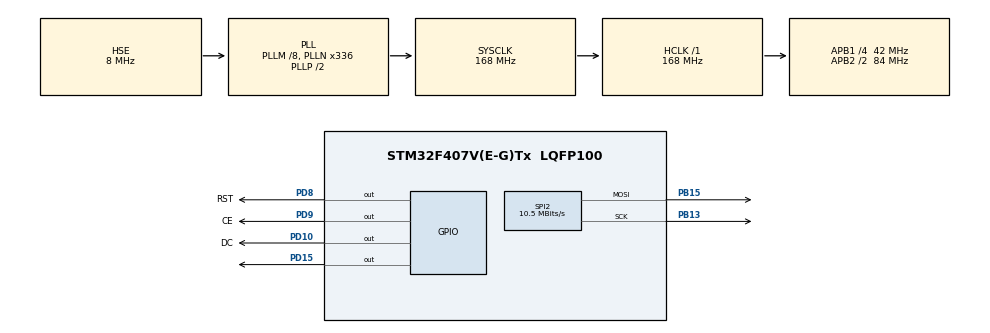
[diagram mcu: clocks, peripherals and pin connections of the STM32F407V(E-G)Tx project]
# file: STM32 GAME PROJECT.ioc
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Dma.Request0=SPI2_TX
Dma.SPI2_TX.0.Direction=DMA_MEMORY_TO_PERIPH
Dma.SPI2_TX.0.FIFOMode=DMA_FIFOMODE_DISABLE
Dma.SPI2_TX.0.Instance=DMA1_Stream4
Dma.SPI2_TX.0.MemDataAlignment=DMA_MDATAALIGN_BYTE
Dma.SPI2_TX.0.MemInc=DMA_MINC_ENABLE
Dma.SPI2_TX.0.Mode=DMA_NORMAL
Dma.SPI2_TX.0.PeriphDataAlignment=DMA_PDATAALIGN_BYTE
Dma.SPI2_TX.0.PeriphInc=DMA_PINC_DISABLE
Dma.SPI2_TX.0.Priority=DMA_PRIORITY_LOW
Mcu.Family=STM32F4
Mcu.Name=STM32F407V(E-G)Tx
Mcu.Package=LQFP100
NVIC.DMA1_Stream4_IRQn=true\:0\:0\:false\:false\:true\:false\:true\:true
NVIC.PriorityGroup=NVIC_PRIORITYGROUP_0
NVIC.SPI2_IRQn=true\:0\:0\:false\:false\:true\:true\:true\:true
PB13.Mode=TX_Only_Simplex_Unidirect_Master
PB13.Signal=SPI2_SCK
PB15.Mode=TX_Only_Simplex_Unidirect_Master
PB15.Signal=SPI2_MOSI
PC14-OSC32_IN.Mode=LSE-External-Oscillator
PC14-OSC32_IN.Signal=RCC_OSC32_IN
PC15-OSC32_OUT.Mode=LSE-External-Oscillator
PC15-OSC32_OUT.Signal=RCC_OSC32_OUT
PD10.GPIO_Label=DC
PD10.Signal=GPIO_Output
PD15.Signal=GPIO_Output
PD8.GPIO_Label=RST
PD8.Signal=GPIO_Output
PD9.GPIO_Label=CE
PD9.Signal=GPIO_Output
PH0-OSC_IN.Mode=HSE-External-Oscillator
PH0-OSC_IN.Signal=RCC_OSC_IN
PH1-OSC_OUT.Mode=HSE-External-Oscillator
PH1-OSC_OUT.Signal=RCC_OSC_OUT
ProjectManager.HeapSize=0x200
ProjectManager.StackSize=0x400
ProjectManager.TargetToolchain=STM32CubeIDE
RCC.48MHZClocksFreq_Value=48000000
RCC.AHBFreq_Value=168000000
RCC.APB1CLKDivider=RCC_HCLK_DIV4
RCC.APB1Freq_Value=42000000
RCC.APB1TimFreq_Value=84000000
RCC.APB2CLKDivider=RCC_HCLK_DIV2
RCC.APB2Freq_Value=84000000
RCC.APB2TimFreq_Value=168000000
RCC.CortexFreq_Value=168000000
RCC.HCLKFreq_Value=168000000
RCC.HSE_VALUE=8000000
RCC.HSI_VALUE=16000000
RCC.PLLM=8
RCC.PLLN=336
RCC.PLLQ=7
RCC.PLLSourceVirtual=RCC_PLLSOURCE_HSE
RCC.SYSCLKFreq_VALUE=168000000
RCC.SYSCLKSource=RCC_SYSCLKSOURCE_PLLCLK
RCC.VCOOutputFreq_Value=336000000
SPI2.BaudRatePrescaler=SPI_BAUDRATEPRESCALER_4
SPI2.CalculateBaudRate=10.5 MBits/s
SPI2.Direction=SPI_DIRECTION_2LINES
SPI2.Mode=SPI_MODE_MASTER
SPI2.VirtualType=VM_MASTER
board=STM32F4DISCOVERY

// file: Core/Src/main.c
/**
 ******************************************************************************
 * @file           : main.c
 * @brief          : Main program body
 ******************************************************************************
 ** This notice applies to any and all portions of this file
 * that are not between comment pairs USER CODE BEGIN and
 * USER CODE END. Other portions of this file, whether
 * inserted by the user or by software development tools
 * are owned by their respective copyright owners.
 *
 * COPYRIGHT(c) 2019 STMicroelectronics
 *
 * Redistribution and use in source and binary forms, with or without modification,
 * are permitted provided that the following conditions are met:
 *   1. Redistributions of source code must retain the above copyright notice,
 *      this list of conditions and the following disclaimer.
 *   2. Redistributions in binary form must reproduce the above copyright notice,
 *      this list of conditions and the following disclaimer in the documentation
 *      and/or other materials provided with the distribution.
 *   3. Neither the name of STMicroelectronics nor the names of its contributors
 *      may be used to endorse or promote products derived from this software
 *      without specific prior written permission.
 *
 * THIS SOFTWARE IS PROVIDED BY THE COPYRIGHT HOLDERS AND CONTRIBUTORS "AS IS"
 * AND ANY EXPRESS OR IMPLIED WARRANTIES, INCLUDING, BUT NOT LIMITED TO, THE
 * IMPLIED WARRANTIES OF MERCHANTABILITY AND FITNESS FOR A PARTICULAR PURPOSE ARE
 * DISCLAIMED. IN NO EVENT SHALL THE COPYRIGHT HOLDER OR CONTRIBUTORS BE LIABLE
 * FOR ANY DIRECT, INDIRECT, INCIDENTAL, SPECIAL, EXEMPLARY, OR CONSEQUENTIAL
 * DAMAGES (INCLUDING, BUT NOT LIMITED TO, PROCUREMENT OF SUBSTITUTE GOODS OR
 * SERVICES; LOSS OF USE, DATA, OR PROFITS; OR BUSINESS INTERRUPTION) HOWEVER
 * CAUSED AND ON ANY THEORY OF LIABILITY, WHETHER IN CONTRACT, STRICT LIABILITY,
 * OR TORT (INCLUDING NEGLIGENCE OR OTHERWISE) ARISING IN ANY WAY OUT OF THE USE
 * OF THIS SOFTWARE, EVEN IF ADVISED OF THE POSSIBILITY OF SUCH DAMAGE.
 *
 ******************************************************************************
 */
#include "main.h"
#include "stm32f4xx_hal.h"

/* USER CODE BEGIN Includes */
#include "NOKIA5110.h"
#include "FONT_IMAGE.h"

/* USER CODE END Includes */

SPI_HandleTypeDef hspi2;
DMA_HandleTypeDef hdma_spi2_tx;

/* USER CODE BEGIN PV */
/* Private variables ---------------------------------------------------------*/
#define DELAY   2000
/* USER CODE END PV */

void SystemClock_Config(void);
static void MX_GPIO_Init(void);
static void MX_DMA_Init(void);
static void MX_SPI2_Init(void);

/* USER CODE BEGIN PFP */
/* Private function prototypes -----------------------------------------------*/

/* USER CODE END PFP */

int main(void) {

	/* MCU Configuration----------------------------------------------------------*/

	/* Reset of all peripherals, Initializes the Flash interface and the Systick. */
	HAL_Init();

	/* Configure the system clock */
	SystemClock_Config();

	/* Initialize all configured peripherals */
	MX_GPIO_Init();
	MX_DMA_Init();
	MX_SPI2_Init();
	/* USER CODE BEGIN 2 */
	N5110_Init();

	/* USER CODE END 2 */

	/* Infinite loop */
	while (1) {

		/* USER CODE BEGIN 3 */
		/* Small Font Testing */
//    N5110_Clear();
//    N5110_SetFont(SmallFont);
//    N5110_PrintStr(N5110_MAX_WIDTH/2-(4.5*6), N5110_MAX_HEIGHT/2 - 4, "NOKIA5110", true);
//    N5110_Update();
//    HAL_Delay(DELAY);
//
//    N5110_Clear();
//    N5110_SetFont(TinyFont);
//    N5110_PrintStr(N5110_MAX_WIDTH/2-(4.5*4), N5110_MAX_HEIGHT/2 - 3, "NOKIA5110", true);
//    N5110_Update();
//    HAL_Delay(DELAY);
//
//    N5110_Clear();
//    N5110_SetFont(MediumNumbers);
//    N5110_PrintStr(N5110_MAX_WIDTH/2-(2.5*12), N5110_MAX_HEIGHT/2 - 8, "99-99", true);
//    N5110_Update();
//    HAL_Delay(DELAY);
//
//    N5110_Clear();
//    N5110_SetFont(BigNumbers);
//    N5110_PrintStr(N5110_MAX_WIDTH/2-(2.5*14), N5110_MAX_HEIGHT/2 - 12, "99-99", true);
//    N5110_Update();
//    HAL_Delay(DELAY);
//
//    N5110_Clear();
//    N5110_SetFont(SmallFont);
//    N5110_PrintStr(N5110_MAX_WIDTH/2-(4.5*6), N5110_MAX_HEIGHT/2 - 4, "NOKIA5110", true);
//    N5110_Update();
//    HAL_Delay(DELAY);
//
//    N5110_InvertDisplay(true);
//    HAL_Delay(DELAY);
//    N5110_InvertDisplay(false);
//    HAL_Delay(DELAY);
//
//    N5110_DrawHLine(0, N5110_MAX_HEIGHT/2 - 8, N5110_MAX_WIDTH, true);
//    N5110_DrawHLine(0, N5110_MAX_HEIGHT/2 + 8, N5110_MAX_WIDTH, true);
//    N5110_DrawVLine(0, N5110_MAX_HEIGHT/2 - 8, 16, true);
//    N5110_DrawVLine(N5110_MAX_WIDTH-1, N5110_MAX_HEIGHT/2 - 8, 16, true);
//    N5110_Update();
//    HAL_Delay(DELAY);
//
//    N5110_DrawRect(0, N5110_MAX_HEIGHT/2 - 8, N5110_MAX_WIDTH-1, N5110_MAX_HEIGHT/2 + 8, false, false);
//    N5110_Update();
//    HAL_Delay(DELAY);
//
//    N5110_Clear();
//    N5110_Update();
//
//    for(int i = 0; i < N5110_MAX_WIDTH; i=i+5)
//    {
//      N5110_DrawLine(0, 0, i, N5110_MAX_HEIGHT-1, true);
//    }
//    N5110_Update();
//    HAL_Delay(DELAY);
//
//    N5110_Clear();
//    for(int i = 0; i < N5110_MAX_WIDTH; i=i+5)
//    {
//      N5110_DrawLine(0, N5110_MAX_HEIGHT-1, i, 0, true);
//    }
//    N5110_Update();
//    HAL_Delay(DELAY);
//
//    N5110_Clear();
//    for(int i = 0; i < N5110_MAX_WIDTH; i=i+5)
//    {
//      N5110_DrawLine(N5110_MAX_WIDTH-1, 0, i, N5110_MAX_HEIGHT-1, true);
//    }
//    N5110_Update();
//    HAL_Delay(DELAY);
//
//    N5110_Clear();
//    for(int i = 0; i < N5110_MAX_WIDTH; i=i+5)
//    {
//      N5110_DrawLine(N5110_MAX_WIDTH-1, N5110_MAX_HEIGHT-1, i, 0, true);
//    }
//    N5110_Update();
//    HAL_Delay(DELAY);
//
//
//    N5110_Clear();
//    for(int i = 0; i < N5110_MAX_HEIGHT/2; i=i+2)
//    {
//      N5110_DrawRect(N5110_MAX_WIDTH/2-1.7*i,N5110_MAX_HEIGHT/2-1-i,N5110_MAX_WIDTH/2+1.7*i,N5110_MAX_HEIGHT/2+i, true, false);
//      N5110_Update();
//    }
//    HAL_Delay(DELAY);
//
//    N5110_DrawRect(0, 0, N5110_MAX_WIDTH-1, N5110_MAX_HEIGHT-1, true, true);
//    N5110_Update();
//    HAL_Delay(DELAY);
//
//
//    N5110_Clear();
//    for(int i = 0; i < N5110_MAX_HEIGHT/2; i=i+2)
//    {
//      N5110_DrawCircle(N5110_MAX_WIDTH/2-1,N5110_MAX_HEIGHT/2-1, i, true, false);
//      N5110_Update();
//    }
//    HAL_Delay(DELAY);
//
//
//    N5110_DrawCircle(N5110_MAX_WIDTH/2-1,N5110_MAX_HEIGHT/2-1, N5110_MAX_HEIGHT/2-1, true, true);
//    N5110_Update();
//    HAL_Delay(DELAY);
//
//    N5110_PrintStr(15, N5110_MAX_HEIGHT/2 - 4, "NOKIA5110", false);
//    N5110_Update();
//    HAL_Delay(DELAY);
//
//    N5110_Clear();
//    N5110_DrawBitmap(0, 0, (uint8_t*)Bitmap, N5110_MAX_WIDTH, N5110_MAX_HEIGHT);
//    N5110_Update();
//    HAL_Delay(DELAY);

		N5110_Clear();
		N5110_SetFont(TinyFont);
		N5110_PrintStr(20, 2, "WELCOME TO", true);
		N5110_SetFont(SmallFont);
		N5110_PrintStr(11, 15, "ROCK DODGE", true);

//		N5110_Update();

		N5110_SetFont(TinyFont);
		N5110_PrintStr(1, 30, "SETTINGS", true);
		N5110_PrintStr(36, 30, "START", true);
		N5110_PrintStr(57, 30, "SCORES", true);
		N5110_Update();
		N5110_Clear();
		HAL_Delay(5000);

		N5110_Update();
		N5110_Clear();
		N5110_SetFont(SmallFont);
		N5110_PrintStr(20, 2, "SETTINGS", true);
		N5110_Update();
		N5110_SetFont(TinyFont);
		N5110_PrintStr(15, 18, "LEVEL <EASY>", true);
		N5110_PrintStr(10, 30, "BRIGHTNESS <75%>", true);
		N5110_Update();
		N5110_Clear();
		HAL_Delay(DELAY * 3);

		N5110_Update();
		N5110_Clear();
		N5110_SetFont(SmallFont);
		N5110_PrintStr(20, 2, "SCORES", true);
		N5110_Update();
		N5110_SetFont(TinyFont);
		N5110_PrintStr(20, 15, "1. <9999>", true);
		N5110_PrintStr(20, 25, "2. <EMPTY>", true);
		N5110_PrintStr(20, 35, "3. <EMPTY>", true);
		N5110_Update();
		N5110_Clear();
		HAL_Delay(DELAY * 3);
	}
	/* USER CODE END 3 */

}

void SystemClock_Config(void) {

	RCC_OscInitTypeDef RCC_OscInitStruct;
	RCC_ClkInitTypeDef RCC_ClkInitStruct;

	/**Configure the main internal regulator output voltage
	 */
	__HAL_RCC_PWR_CLK_ENABLE();

	__HAL_PWR_VOLTAGESCALING_CONFIG(PWR_REGULATOR_VOLTAGE_SCALE1);

	/**Initializes the CPU, AHB and APB busses clocks
	 */
	RCC_OscInitStruct.OscillatorType = RCC_OSCILLATORTYPE_HSE;
	RCC_OscInitStruct.HSEState = RCC_HSE_ON;
	RCC_OscInitStruct.PLL.PLLState = RCC_PLL_ON;
	RCC_OscInitStruct.PLL.PLLSource = RCC_PLLSOURCE_HSE;
	RCC_OscInitStruct.PLL.PLLM = 8;
	RCC_OscInitStruct.PLL.PLLN = 336;
	RCC_OscInitStruct.PLL.PLLP = RCC_PLLP_DIV2;
	RCC_OscInitStruct.PLL.PLLQ = 7;
	if (HAL_RCC_OscConfig(&RCC_OscInitStruct) != HAL_OK) {
		_Error_Handler(__FILE__, __LINE__);
	}

	/**Initializes the CPU, AHB and APB busses clocks
	 */
	RCC_ClkInitStruct.ClockType = RCC_CLOCKTYPE_HCLK | RCC_CLOCKTYPE_SYSCLK
			| RCC_CLOCKTYPE_PCLK1 | RCC_CLOCKTYPE_PCLK2;
	RCC_ClkInitStruct.SYSCLKSource = RCC_SYSCLKSOURCE_PLLCLK;
	RCC_ClkInitStruct.AHBCLKDivider = RCC_SYSCLK_DIV1;
	RCC_ClkInitStruct.APB1CLKDivider = RCC_HCLK_DIV4;
	RCC_ClkInitStruct.APB2CLKDivider = RCC_HCLK_DIV2;

	if (HAL_RCC_ClockConfig(&RCC_ClkInitStruct, FLASH_LATENCY_5) != HAL_OK) {
		_Error_Handler(__FILE__, __LINE__);
	}

	/**Configure the Systick interrupt time
	 */
	HAL_SYSTICK_Config(HAL_RCC_GetHCLKFreq() / 1000);

	/**Configure the Systick
	 */
	HAL_SYSTICK_CLKSourceConfig(SYSTICK_CLKSOURCE_HCLK);

	/* SysTick_IRQn interrupt configuration */
	HAL_NVIC_SetPriority(SysTick_IRQn, 0, 0);
}

/* SPI2 init function */
static void MX_SPI2_Init(void) {

	/* SPI2 parameter configuration*/
	hspi2.Instance = SPI2;
	hspi2.Init.Mode = SPI_MODE_MASTER;
	hspi2.Init.Direction = SPI_DIRECTION_2LINES;
	hspi2.Init.DataSize = SPI_DATASIZE_8BIT;
	hspi2.Init.CLKPolarity = SPI_POLARITY_LOW;
	hspi2.Init.CLKPhase = SPI_PHASE_1EDGE;
	hspi2.Init.NSS = SPI_NSS_SOFT;
	hspi2.Init.BaudRatePrescaler = SPI_BAUDRATEPRESCALER_4;
	hspi2.Init.FirstBit = SPI_FIRSTBIT_MSB;
	hspi2.Init.TIMode = SPI_TIMODE_DISABLE;
	hspi2.Init.CRCCalculation = SPI_CRCCALCULATION_DISABLE;
	hspi2.Init.CRCPolynomial = 10;
	if (HAL_SPI_Init(&hspi2) != HAL_OK) {
		_Error_Handler(__FILE__, __LINE__);
	}

}

static void MX_DMA_Init(void) {
	/* DMA controller clock enable */
	__HAL_RCC_DMA1_CLK_ENABLE();

	/* DMA interrupt init */
	/* DMA1_Stream4_IRQn interrupt configuration */
	HAL_NVIC_SetPriority(DMA1_Stream4_IRQn, 0, 0);
	HAL_NVIC_EnableIRQ(DMA1_Stream4_IRQn);

}

/** Configure pins as
 * Analog
 * Input
 * Output
 * EVENT_OUT
 * EXTI
 */
static void MX_GPIO_Init(void) {

	GPIO_InitTypeDef GPIO_InitStruct;

	/* GPIO Ports Clock Enable */
	__HAL_RCC_GPIOC_CLK_ENABLE();
	__HAL_RCC_GPIOH_CLK_ENABLE();
	__HAL_RCC_GPIOB_CLK_ENABLE();
	__HAL_RCC_GPIOD_CLK_ENABLE();

	/*Configure GPIO pin Output Level */
	HAL_GPIO_WritePin(GPIOD, RST_Pin | CE_Pin | DC_Pin | GPIO_PIN_15,
			GPIO_PIN_RESET);

	/*Configure GPIO pins : RST_Pin CE_Pin DC_Pin PD15 */
	GPIO_InitStruct.Pin = RST_Pin | CE_Pin | DC_Pin | GPIO_PIN_15;
	GPIO_InitStruct.Mode = GPIO_MODE_OUTPUT_PP;
	GPIO_InitStruct.Pull = GPIO_NOPULL;
	GPIO_InitStruct.Speed = GPIO_SPEED_FREQ_LOW;
	HAL_GPIO_Init(GPIOD, &GPIO_InitStruct);

}

void _Error_Handler(char *file, int line) {
	while (1) {
	}
}

/************************ (C) COPYRIGHT STMicroelectronics *****END OF FILE****/
